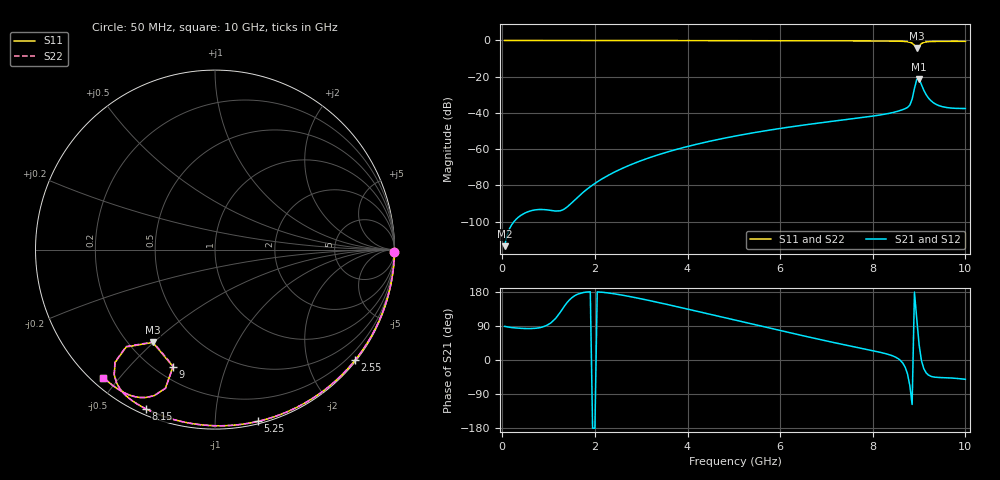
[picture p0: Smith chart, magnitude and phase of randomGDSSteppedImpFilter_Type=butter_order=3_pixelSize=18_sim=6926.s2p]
! freq	dB(S11)	phase(S11)	dB(S12)	phase(S12)
!  dB(S21)	phase(S21)	dB(S22)	phase(S22)
!S-par simulation data
#  GHz  S  DB  R 50
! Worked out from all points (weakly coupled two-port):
!   200 points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, 50 MHz to 10 GHz, reference 50 ohm
!   highest |S21| = -21.28 dB at 9 GHz (marker M1); lowest = -113.5 dB at 50 MHz (marker M2)
!   lowest |S11| = -4.1 dB at 8.95 GHz (marker M3), VSWR 4.30, Z = 14.7 - j24.8 ohm
!   |S11| at or under -10 dB: nowhere
!   |S22| runs from -4.1 to 0.0 dB; largest |S21 - S12| = 0
!   S11 on the Smith chart (normalised r, x): 50 MHz: open; 2.55 GHz: 0.03, -2.88; 5.25 GHz: 0.02, -1.28; 8.15 GHz: 0.02, -0.66; 9 GHz: 0.27, -0.67; 10 GHz: 0.03, -0.45
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0.05  -0.00 -0.8  -113.51 88.7  -113.51 88.7  -0.00 -0.8
1.75  -0.03 -26.6  -83.71 178.0  -83.71 178.0  -0.03 -26.6
1.95  -0.04 -29.5  -79.77 -179.9  -79.77 -179.9  -0.04 -29.5
2.55  -0.05 -38.4  -71.05 172.0  -71.05 172.0  -0.05 -38.4
3.4  -0.07 -50.6  -62.83 150.9  -62.83 150.9  -0.07 -50.6
5.05  -0.11 -73.3  -52.65 104.6  -52.65 104.6  -0.11 -73.3
5.25  -0.12 -75.9  -51.71 98.9  -51.71 98.9  -0.12 -75.9
6.7  -0.18 -94.6  -46.01 58.4  -46.01 58.4  -0.18 -94.7
8.15  -0.29 -113.5  -41.15 20.5  -41.15 20.5  -0.29 -113.6
8.35  -0.32 -116.6  -40.23 14.3  -40.23 14.3  -0.32 -116.6
8.65  -0.47 -122.8  -38.14 -8.5  -38.14 -8.5  -0.48 -122.9
8.8  -0.96 -128.8  -35.69 -67.5  -35.69 -67.5  -0.96 -128.9
8.85  -1.52 -131.5  -32.38 -117.4  -32.38 -117.4  -1.53 -131.7
8.9  -2.68 -132.4  -26.47 179.4  -26.47 179.4  -2.70 -132.5
8.95  -4.11 -123.9  -21.51 108.3  -21.51 108.3  -4.15 -123.9
9  -3.19 -109.8  -21.28 40.9  -21.28 40.9  -3.22 -109.7
9.05  -1.72 -109.7  -24.29 -1.0  -24.29 -1.0  -1.73 -109.6
9.15  -0.82 -115.1  -29.81 -33.5  -29.81 -33.5  -0.82 -115.1
9.25  -0.60 -118.6  -33.10 -42.7  -33.10 -42.7  -0.60 -118.6
9.35  -0.52 -121.0  -35.02 -45.5  -35.02 -45.5  -0.52 -121.0
9.6  -0.47 -125.5  -37.03 -46.9  -37.03 -46.9  -0.47 -125.5
10  -0.48 -131.1  -37.54 -51.0  -37.54 -51.0  -0.48 -131.1
